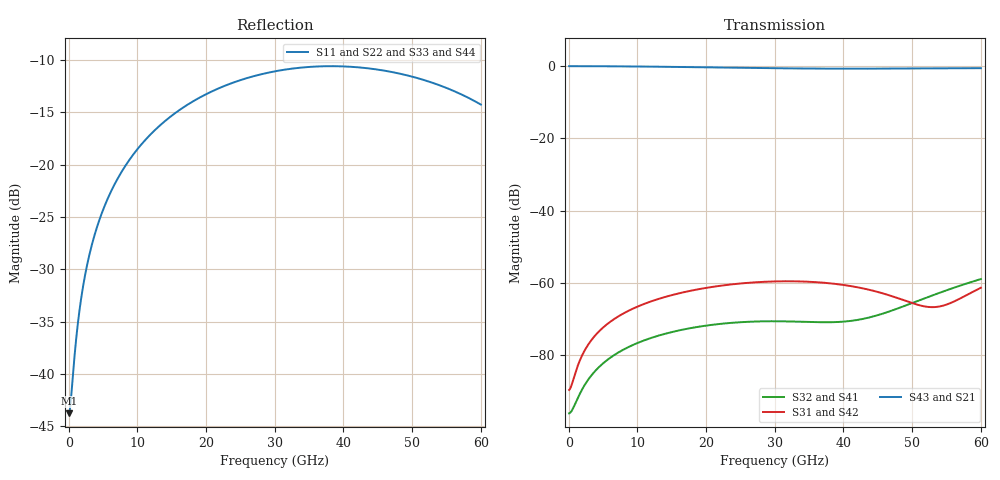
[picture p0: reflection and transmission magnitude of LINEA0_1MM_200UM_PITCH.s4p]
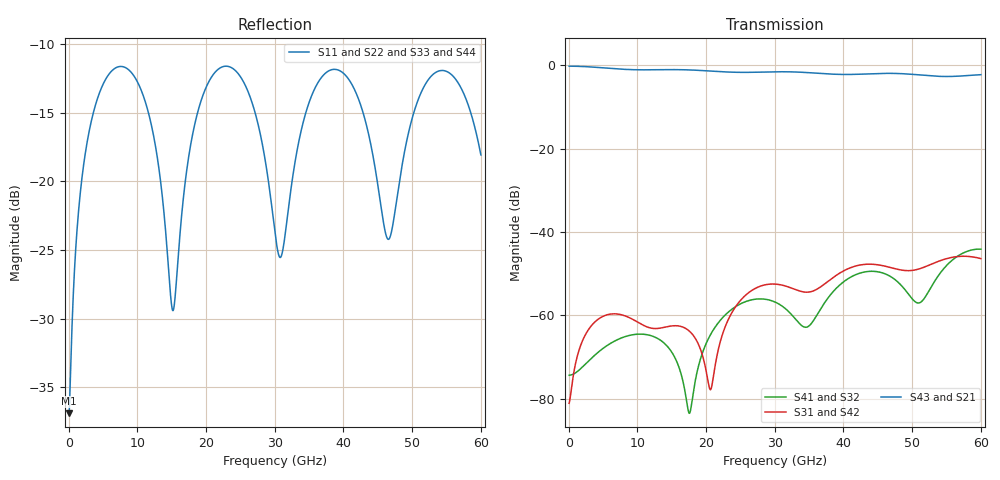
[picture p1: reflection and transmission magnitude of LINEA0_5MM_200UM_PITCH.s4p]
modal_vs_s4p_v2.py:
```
"""Cross-section (2-D port mode) prediction of NEXT/FEXT vs the 3-D CST .s4p,
200 um pitch. Inputs from the CST port-mode runs:
  n_even = 1.8878, n_odd = 1.8863   (modes 5/6 at 30 GHz; held constant)
  Z_even/Z_odd - 1 = +0.30 ... +0.45 %  (field integration, 6-60 GHz, ~flat)
  mean per-line Z = 34.6 ohm.  Lossless, ports 50 ohm, lines identical."""
import numpy as np, matplotlib; matplotlib.use("Agg"); import matplotlib.pyplot as plt
from first_look_lib import load4
c = 299792458; k30 = 2*np.pi*30e9/c
ne, no = 1186.97/k30, 1186.02/k30; Zm = (2*17.3801 + 2*17.1815)/2
def line2(f, n, Z, L, z0=50.0):
    t = np.exp(-2j*np.pi*f*n*L/c); r = (Z-z0)/(Z+z0); d = 1 - r**2*t**2
    return r*(1-t**2)/d, (1-r**2)*t/d
def xtalk(f, L, dz):
    s11e, s21e = line2(f, ne, Zm*(1+dz/2), L); s11o, s21o = line2(f, no, Zm*(1-dz/2), L)
    return 0.5*(s11e-s11o), 0.5*(s21e-s21o)
db = lambda x: 20*np.log10(np.abs(x)+1e-30)
fig, axs = plt.subplots(2, 2, figsize=(12, 8), sharex=True)
rows = []
for j, (fn, L) in enumerate([("LINEA0_1MM_200UM_PITCH.s4p", 1e-3), ("LINEA0_5MM_200UM_PITCH.s4p", 5e-3)]):
    f, S = load4(fn); f, S = f[1:], S[1:]
    lo, hi = xtalk(f, L, 0.0030), xtalk(f, L, 0.0045)
    for i, (k, name) in enumerate([(2, "NEXT  |S31|"), (3, "FEXT  |S41|")]):
        a = axs[i, j]; cst = db(S[:, k, 0]); m1, m2 = db(lo[i]), db(hi[i])
        a.fill_between(f/1e9, np.minimum(m1, m2), np.maximum(m1, m2), color="C3", alpha=.3,
                       label="cross-section model (Ze/Zo +0.30…0.45 %)")
        a.plot(f/1e9, cst, "k", lw=2, label="coworker's 3-D CST (.s4p)")
        a.set_title(f"{name},  L = {L*1e3:.0f} mm,  pitch 200 µm"); a.set_ylim(-110, -30); a.grid(alpha=.3)
        for g in (6, 18, 30, 42, 60):
            q = np.argmin(abs(f-g*1e9)); rows.append((L*1e3, name[:4], g, cst[q], m1[q], m2[q]))
axs[0, 0].legend(fontsize=8, loc="lower right"); [a.set_xlabel("frequency (GHz)") for a in axs[1]]
[a.set_ylabel("dB") for a in axs[:, 0]]
fig.tight_layout(); fig.savefig("modal_vs_s4p_v2.png", dpi=110)
for r in rows: print("%.0fmm %s %2d GHz  CST %6.1f  model %6.1f .. %6.1f" % r)
```
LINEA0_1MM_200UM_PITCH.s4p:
! TOUCHSTONE file generated by CST MICROWAVE STUDIO
! Date and time: Wed Oct 14 10:40:22 2026
! Project name: LINEA0_1MM_200UM_PITCH.cst
! Parameters = {CHANNEL_PITCH=0.2; GAP=0.00415; L=1; L1=0.02; L2=0.086; L3=0.066; NCELL=1; PITCH=0.18; START_POSITION=0.08; W1=0.003; W2=0.004; W3=0.009; WG=0.04985; gap_oxr=0.00125; linbo3_thickness=0.0002; mtx=0.002; oxiDinE=0.0014; w=0.15; ws=0.035}
! Header version: 2024
! Port assignment regex: !\s*Touchstone port\s*([0-9]+)\s*=\s*(CST MWS port|CST DES external port|CST DES block port)\s*(.+)\s* \(\"(.*)\"\)(\s*mode\s*([0-9]+))?.*
! Touchstone port assignment:
! Touchstone port 1 = CST MWS port 1 ("")
! Touchstone port 2 = CST MWS port 2 ("")
! Touchstone port 3 = CST MWS port 3 ("")
! Touchstone port 4 = CST MWS port 4 ("")
# GHz S MA R 50
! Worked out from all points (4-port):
!   1000 points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, 60 MHz to 60 GHz, reference 50 ohm
!   strongest paths, dB at 60 MHz, 15.06 GHz, 30.06 GHz, 45.06 GHz, 60 GHz:
!     S43: -0.1, -0.3, -0.6, -0.7, -0.6
!     S21: -0.1, -0.3, -0.6, -0.7, -0.6
!     S31: -89.6, -63.4, -59.6, -62.6, -61.4
!     S42: -89.6, -63.4, -59.6, -62.6, -61.4
!     S32: -96.1, -73.6, -70.6, -68.9, -59.0
!     S41: -96.1, -73.6, -70.6, -68.9, -59.0
!   lowest |S11| = -43.7 dB at 60 MHz (marker M1), VSWR 1.01, Z = 50.6 - j0.0756 ohm
!   |S11| at or under -10 dB: start of sweep to end of sweep
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0.06  0.006495 -6.6  0.9921 -0.2  3.3e-05 4.9  1.566e-05 176.4
      0.9921 -0.2  0.006495 -6.6  1.566e-05 176.4  3.3e-05 4.9
      3.3e-05 4.9  1.566e-05 176.4  0.006485 -6.6  0.9921 -0.2
      1.566e-05 176.4  3.3e-05 4.9  0.9921 -0.2  0.006485 -6.6
15.36  0.175 -123.6  0.9694 -38.4  0.0006892 48.8  0.0002121 20.7
       0.9694 -38.4  0.175 -123.6  0.0002121 20.7  0.0006892 48.8
       0.0006892 48.8  0.0002121 20.7  0.1751 -123.6  0.9694 -38.4
       0.0002121 20.7  0.0006892 48.8  0.9694 -38.4  0.1751 -123.6
60  0.1937 137.7  0.9306 -141.3  0.0008552 27.8  0.001127 -105.1
    0.9306 -141.3  0.1937 137.7  0.001127 -105.1  0.0008552 27.8
    0.0008552 27.8  0.001127 -105.1  0.1939 137.7  0.9307 -141.2
    0.001127 -105.1  0.0008552 27.8  0.9307 -141.2  0.1939 137.7
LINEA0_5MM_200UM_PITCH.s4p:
! TOUCHSTONE file generated by CST MICROWAVE STUDIO
! Date and time: Thu Oct 15 09:16:29 2026
! Project name: LINEA0_5MM_200UM_PITCH.cst
! Parameters = {CHANNEL_PITCH=0.2; GAP=0.00415; L=5; L1=0.02; L2=0.086; L3=0.066; NCELL=1; PITCH=0.18; START_POSITION=0.08; W1=0.003; W2=0.004; W3=0.009; WG=0.04985; gap_oxr=0.00125; linbo3_thickness=0.0002; mtx=0.002; oxiDinE=0.0014; w=0.15; ws=0.035}
! Header version: 2024
! Port assignment regex: !\s*Touchstone port\s*([0-9]+)\s*=\s*(CST MWS port|CST DES external port|CST DES block port)\s*(.+)\s* \(\"(.*)\"\)(\s*mode\s*([0-9]+))?.*
! Touchstone port assignment:
! Touchstone port 1 = CST MWS port 1 ("")
! Touchstone port 2 = CST MWS port 2 ("")
! Touchstone port 3 = CST MWS port 3 ("")
! Touchstone port 4 = CST MWS port 4 ("")
# GHz S MA R 50
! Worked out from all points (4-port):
!   1000 points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, 60 MHz to 60 GHz, reference 50 ohm
!   strongest paths, dB at 60 MHz, 15.06 GHz, 30.06 GHz, 45.06 GHz, 60 GHz:
!     S43: -0.2, -1.0, -1.5, -1.9, -2.2
!     S21: -0.2, -1.0, -1.5, -2.0, -2.2
!     S31: -81.1, -62.5, -52.5, -47.9, -46.4
!     S42: -81.1, -62.5, -52.5, -47.9, -46.4
!     S41: -74.4, -69.0, -56.8, -49.6, -44.1
!     S32: -74.4, -69.0, -56.8, -49.6, -44.1
!   lowest |S11| = -36.9 dB at 60 MHz (marker M1), VSWR 1.03, Z = 51.4 - j0.352 ohm
!   |S11| at or under -10 dB: start of sweep to end of sweep
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0.06  0.01428 -13.9  0.9786 -0.8  8.818e-05 9.2  0.0001907 177.2
      0.9786 -0.8  0.01428 -13.9  0.0001907 177.2  8.818e-05 9.2
      8.81e-05 9.2  0.0001911 177.2  0.01426 -13.9  0.9786 -0.8
      0.0001911 177.2  8.81e-05 9.2  0.9786 -0.8  0.01426 -13.9
15.06  0.0343 176.1  0.8898 -178.9  0.0007479 -18.1  0.0003559 117.3
       0.8898 -178.9  0.0343 176.1  0.0003559 117.3  0.0007479 -18.1
       0.000748 -18.1  0.0003557 117.3  0.03434 175.7  0.89 -178.8
       0.0003557 117.3  0.000748 -18.1  0.89 -178.8  0.03434 175.7
60  0.125 146.1  0.7726 22.2  0.004802 -67.7  0.006239 -26.9
    0.7726 22.2  0.125 146.1  0.006239 -26.9  0.004802 -67.7
    0.004801 -67.7  0.006236 -26.9  0.1256 146.0  0.7733 22.3
    0.006236 -26.9  0.004801 -67.7  0.7733 22.3  0.1256 146.0
